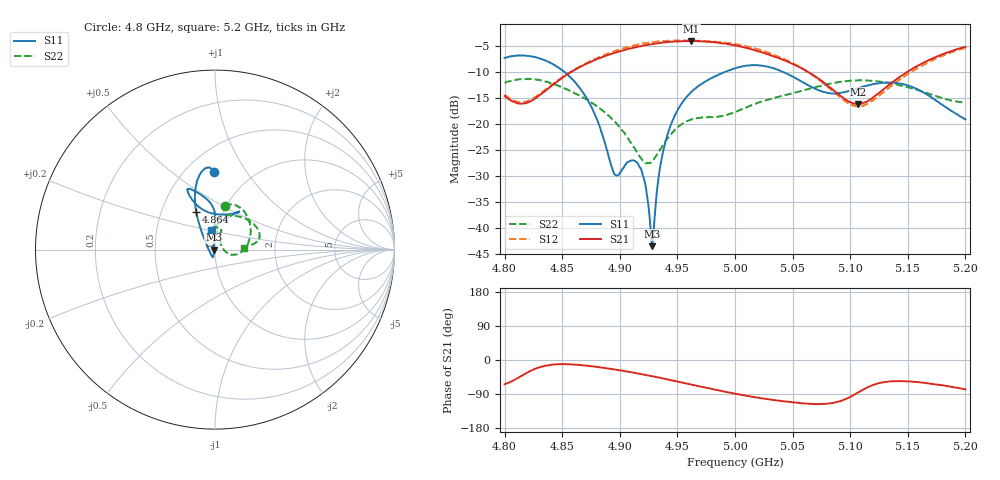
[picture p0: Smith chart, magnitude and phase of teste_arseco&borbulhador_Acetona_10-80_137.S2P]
! Network Analyzer HP8722D
! Hewlett-Packard
! Data name: Linha & Wilkinson
! Saver's name: Rodrigo Anjos
! Comments: Teste da utilização de aquisição
! continua pelo VNA HP8722D
! Time and date: 25/4/2025 16:24
!  Frequency  S11  S21  S12  S22
# HZ  S  MA R 50
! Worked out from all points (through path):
!   401 points, 4.8 GHz to 5.2 GHz, reference 50 ohm
!   highest |S21| = -3.97 dB at 4.962 GHz (marker M1); lowest = -16.1 dB at 5.107 GHz (marker M2)
!   lowest |S11| = -43.6 dB at 4.928 GHz (marker M3), VSWR 1.01, Z = 49.4 - j0.115 ohm
!   |S11| at or under -10 dB: 4.852 GHz to 4.991 GHz (138.4 MHz wide, 2.81 % of centre); 5.042 GHz to end of sweep
!   |S22| runs from -27.6 to -11.3 dB; largest |S21 - S12| = 1.2
!   S11 on the Smith chart (normalised r, x): 4.8 GHz: 0.68, +0.72; 4.864 GHz: 0.75, +0.33; 5.2 GHz: 0.94, +0.21
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4.8e9  0.4342 90.8  0.1863 -64.0  0.1914 69.5  0.25 77.3
4.82e9  0.4538 97.2  0.1613 -32.5  0.1669 98.3  0.273 62.2
4.843e9  0.3724 106.3  0.2451 -11.8  0.2484 118.8  0.2434 37.0
4.864e9  0.2321 116.6  0.3487 -12.8  0.3519 121.1  0.1905 12.2
4.867e9  0.2091 118.4  0.3632 -13.7  0.3665 120.7  0.1833 8.8
4.88e9  0.1121 128.6  0.4228 -18.2  0.4319 118.4  0.1488 -5.0
4.896e9  0.03235 -166.4  0.4879 -25.1  0.5072 113.2  0.105 -16.0
4.909e9  0.04411 -107.3  0.5356 -31.8  0.5617 107.6  0.06754 -14.4
4.917e9  0.03866 -103.0  0.5612 -36.2  0.5889 103.7  0.04894 -1.5
4.922e9  0.02674 -106.3  0.5766 -39.1  0.6027 100.9  0.04212 15.6
4.928e9  0.006627 -169.9  0.5911 -42.8  0.6162 97.3  0.04371 40.4
4.93e9  0.01164 121.4  0.596 -44.1  0.6201 95.8  0.04681 47.2
4.934e9  0.0326 99.5  0.6038 -46.5  0.6284 93.4  0.05405 57.5
4.945e9  0.103 90.3  0.6217 -53.6  0.6394 86.5  0.08081 69.7
4.962e9  0.2034 90.1  0.633 -64.9  0.6388 75.5  0.1108 71.1
5e9  0.3452 109.2  0.5735 -89.0  0.5931 50.9  0.131 88.5
5.03e9  0.354 115.2  0.4651 -104.0  0.4815 34.0  0.1734 85.6
5.067e9  0.226 105.4  0.3011 -115.8  0.299 23.6  0.2225 57.2
5.107e9  0.2222 64.2  0.1561 -85.5  0.148 57.6  0.2637 24.3
5.134e9  0.251 57.3  0.2403 -56.6  0.2261 88.7  0.248 12.5
5.17e9  0.1829 70.6  0.4225 -62.3  0.4063 84.5  0.1935 6.9
5.2e9  0.1111 100.4  0.5546 -77.4  0.5433 70.3  0.1614 3.8
